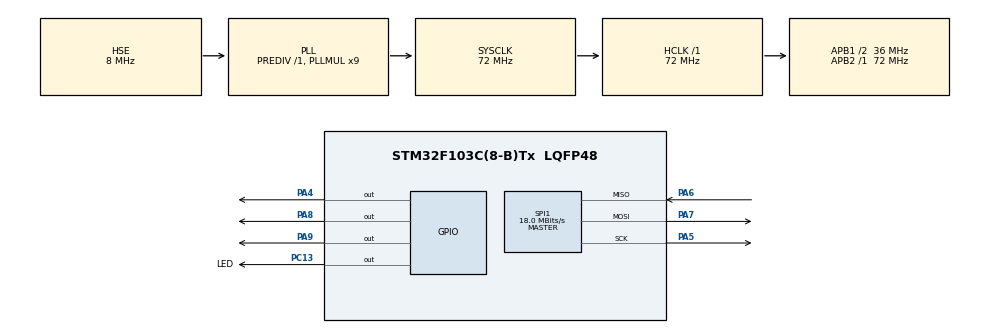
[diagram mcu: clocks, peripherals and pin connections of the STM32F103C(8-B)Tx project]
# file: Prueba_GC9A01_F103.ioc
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Mcu.Family=STM32F1
Mcu.Name=STM32F103C(8-B)Tx
Mcu.Package=LQFP48
NVIC.PriorityGroup=NVIC_PRIORITYGROUP_4
PA13.Mode=Serial_Wire
PA13.Signal=SYS_JTMS-SWDIO
PA14.Mode=Serial_Wire
PA14.Signal=SYS_JTCK-SWCLK
PA4.Signal=GPIO_Output
PA5.Mode=Full_Duplex_Master
PA5.Signal=SPI1_SCK
PA6.Mode=Full_Duplex_Master
PA6.Signal=SPI1_MISO
PA7.Mode=Full_Duplex_Master
PA7.Signal=SPI1_MOSI
PA8.Signal=GPIO_Output
PA9.Signal=GPIO_Output
PC13-TAMPER-RTC.GPIO_Label=LED
PC13-TAMPER-RTC.PinState=GPIO_PIN_SET
PC13-TAMPER-RTC.Signal=GPIO_Output
PD0-OSC_IN.Mode=HSE-External-Oscillator
PD0-OSC_IN.Signal=RCC_OSC_IN
PD1-OSC_OUT.Mode=HSE-External-Oscillator
PD1-OSC_OUT.Signal=RCC_OSC_OUT
ProjectManager.HeapSize=0x200
ProjectManager.StackSize=0x400
ProjectManager.TargetToolchain=STM32CubeIDE
RCC.AHBFreq_Value=72000000
RCC.APB1CLKDivider=RCC_HCLK_DIV2
RCC.APB1Freq_Value=36000000
RCC.APB1TimFreq_Value=72000000
RCC.APB2Freq_Value=72000000
RCC.APB2TimFreq_Value=72000000
RCC.HCLKFreq_Value=72000000
RCC.PLLMUL=RCC_PLL_MUL9
RCC.PLLSourceVirtual=RCC_PLLSOURCE_HSE
RCC.SYSCLKFreq_VALUE=72000000
RCC.SYSCLKSource=RCC_SYSCLKSOURCE_PLLCLK
RCC.USBFreq_Value=72000000
SPI1.BaudRatePrescaler=SPI_BAUDRATEPRESCALER_4
SPI1.CalculateBaudRate=18.0 MBits/s
SPI1.Direction=SPI_DIRECTION_2LINES
SPI1.Mode=SPI_MODE_MASTER
SPI1.VirtualType=VM_MASTER
board=custom

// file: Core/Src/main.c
/* USER CODE BEGIN Header */
/**
  ******************************************************************************
  * @file           : main.c
  * @brief          : Main program body
  ******************************************************************************
  * @attention
  *
  * Copyright (c) 2024 STMicroelectronics.
  * All rights reserved.
  *
  * This software is licensed under terms that can be found in the LICENSE file
  * in the root directory of this software component.
  * If no LICENSE file comes with this software, it is provided AS-IS.
  *
  ******************************************************************************
  */
/* USER CODE END Header */
#include "main.h"

/* USER CODE BEGIN Includes */
#include "GC9A01.h"
#include <math.h>
//#include <stdbool.h>
/* USER CODE END Includes */

SPI_HandleTypeDef hspi1;

void SystemClock_Config(void);
static void MX_GPIO_Init(void);
static void MX_SPI1_Init(void);

int main(void)
{
  /* USER CODE BEGIN 1 */
	//bool inverted = false;
  /* USER CODE END 1 */

  /* MCU Configuration--------------------------------------------------------*/

  /* Reset of all peripherals, Initializes the Flash interface and the Systick. */
  HAL_Init();

  /* Configure the system clock */
  SystemClock_Config();

  /* Initialize all configured peripherals */
  MX_GPIO_Init();
  MX_SPI1_Init();
  /* USER CODE BEGIN 2 */
  GC9A01_init();
  struct GC9A01_frame frame = {{0,0},{239,239}};
  GC9A01_set_frame(frame);
  /* USER CODE END 2 */

  /* Infinite loop */
  while (1)
  {

    /* USER CODE BEGIN 3 */
	  uint8_t color[3];
	  // Triangle
	  color[0] = 0xFF;
	  color[1] = 0xFF;
	  for (int x = 0; x < 240; x++) {
		  for (int y = 0; y < 240; y++) {
			  if (x < y) {
				  color[2] = 0xFF;
			  } else {
				  color[2] = 0x00;
			  }
			  if (x == 0 && y == 0) {
				  GC9A01_write(color, sizeof(color));
			  } else {
				  GC9A01_write_continue(color, sizeof(color));
			  }
		  }
	  }
	  //setPWM(1);
	  HAL_Delay(1000);
	  // setPWM(0);
	  // Rainbow
	  float frequency = 0.026;
	  for (int x = 0; x < 240; x++) {
		  color[0] = sin(frequency*x + 0) * 127 + 128;
		  color[1] = sin(frequency*x + 2) * 127 + 128;
		  color[2] = sin(frequency*x + 4) * 127 + 128;
		  for (int y = 0; y < 240; y++) {
			  if (x == 0 && y == 0) {
				  GC9A01_write(color, sizeof(color));
			  } else {
				  GC9A01_write_continue(color, sizeof(color));
			  }
		  }
	  }
	  // setPWM(1);
	  HAL_Delay(1000);
	  // setPWM(0);
	  // Checkerboard
	  for (int x = 0; x < 240; x++) {
		  for (int y = 0; y < 240; y++) {
			  if ((x / 10) % 2 ==  (y / 10) % 2) {
				  color[0] = 0xFF;
				  color[1] = 0xFF;
				  color[2] = 0xFF;
			  } else {
				  color[0] = 0x00;
				  color[1] = 0x00;
				  color[2] = 0x00;
			  }
			  if (x == 0 && y == 0) {
				  GC9A01_write(color, sizeof(color));
			  } else {
				  GC9A01_write_continue(color, sizeof(color));
			  }
		  }
	  }
	  // setPWM(1);
	  HAL_Delay(1000);
	  // setPWM(0);
	  // Swiss flag
	  color[0] = 0xFF;
	  for (int x = 0; x < 240; x++) {
		  for (int y = 0; y < 240; y++) {
			  if ((x >= 1*48 && x < 4*48 && y >= 2*48 && y < 3*48) ||
				  (x >= 2*48 && x < 3*48 && y >= 1*48 && y < 4*48)) {
				  color[1] = 0xFF;
				  color[2] = 0xFF;
			  } else {
				  color[1] = 0x00;
				  color[2] = 0x00;
			  }
			  if (x == 0 && y == 0) {
				  GC9A01_write(color, sizeof(color));
			  } else {
				  GC9A01_write_continue(color, sizeof(color));
			  }
		  }
	  }
	  // setPWM(1);
	 /*if(!inverted)
	  {
		  GC9A01_write_command(0x20);
		  inverted = true;
	  }
	  else
	  {
		  inverted = false;
	  }*/

	  HAL_Delay(1000);
	  // setPWM(0);
  }
  /* USER CODE END 3 */
}

void SystemClock_Config(void)
{
  RCC_OscInitTypeDef RCC_OscInitStruct = {0};
  RCC_ClkInitTypeDef RCC_ClkInitStruct = {0};

  /** Initializes the RCC Oscillators according to the specified parameters
  * in the RCC_OscInitTypeDef structure.
  */
  RCC_OscInitStruct.OscillatorType = RCC_OSCILLATORTYPE_HSE;
  RCC_OscInitStruct.HSEState = RCC_HSE_ON;
  RCC_OscInitStruct.HSEPredivValue = RCC_HSE_PREDIV_DIV1;
  RCC_OscInitStruct.HSIState = RCC_HSI_ON;
  RCC_OscInitStruct.PLL.PLLState = RCC_PLL_ON;
  RCC_OscInitStruct.PLL.PLLSource = RCC_PLLSOURCE_HSE;
  RCC_OscInitStruct.PLL.PLLMUL = RCC_PLL_MUL9;
  if (HAL_RCC_OscConfig(&RCC_OscInitStruct) != HAL_OK)
  {
    Error_Handler();
  }

  /** Initializes the CPU, AHB and APB buses clocks
  */
  RCC_ClkInitStruct.ClockType = RCC_CLOCKTYPE_HCLK|RCC_CLOCKTYPE_SYSCLK
                              |RCC_CLOCKTYPE_PCLK1|RCC_CLOCKTYPE_PCLK2;
  RCC_ClkInitStruct.SYSCLKSource = RCC_SYSCLKSOURCE_PLLCLK;
  RCC_ClkInitStruct.AHBCLKDivider = RCC_SYSCLK_DIV1;
  RCC_ClkInitStruct.APB1CLKDivider = RCC_HCLK_DIV2;
  RCC_ClkInitStruct.APB2CLKDivider = RCC_HCLK_DIV1;

  if (HAL_RCC_ClockConfig(&RCC_ClkInitStruct, FLASH_LATENCY_2) != HAL_OK)
  {
    Error_Handler();
  }
}

static void MX_SPI1_Init(void)
{

  /* SPI1 parameter configuration*/
  hspi1.Instance = SPI1;
  hspi1.Init.Mode = SPI_MODE_MASTER;
  hspi1.Init.Direction = SPI_DIRECTION_2LINES;
  hspi1.Init.DataSize = SPI_DATASIZE_8BIT;
  hspi1.Init.CLKPolarity = SPI_POLARITY_LOW;
  hspi1.Init.CLKPhase = SPI_PHASE_1EDGE;
  hspi1.Init.NSS = SPI_NSS_SOFT;
  hspi1.Init.BaudRatePrescaler = SPI_BAUDRATEPRESCALER_4;
  hspi1.Init.FirstBit = SPI_FIRSTBIT_MSB;
  hspi1.Init.TIMode = SPI_TIMODE_DISABLE;
  hspi1.Init.CRCCalculation = SPI_CRCCALCULATION_DISABLE;
  hspi1.Init.CRCPolynomial = 10;
  if (HAL_SPI_Init(&hspi1) != HAL_OK)
  {
    Error_Handler();
  }

}

static void MX_GPIO_Init(void)
{
  GPIO_InitTypeDef GPIO_InitStruct = {0};

  /* GPIO Ports Clock Enable */
  __HAL_RCC_GPIOC_CLK_ENABLE();
  __HAL_RCC_GPIOD_CLK_ENABLE();
  __HAL_RCC_GPIOA_CLK_ENABLE();

  /*Configure GPIO pin Output Level */
  HAL_GPIO_WritePin(LED_GPIO_Port, LED_Pin, GPIO_PIN_SET);

  /*Configure GPIO pin Output Level */
  HAL_GPIO_WritePin(GPIOA, GPIO_PIN_4|GPIO_PIN_8|GPIO_PIN_9, GPIO_PIN_RESET);

  /*Configure GPIO pin : LED_Pin */
  GPIO_InitStruct.Pin = LED_Pin;
  GPIO_InitStruct.Mode = GPIO_MODE_OUTPUT_PP;
  GPIO_InitStruct.Pull = GPIO_NOPULL;
  GPIO_InitStruct.Speed = GPIO_SPEED_FREQ_LOW;
  HAL_GPIO_Init(LED_GPIO_Port, &GPIO_InitStruct);

  /*Configure GPIO pins : PA4 PA8 PA9 */
  GPIO_InitStruct.Pin = GPIO_PIN_4|GPIO_PIN_8|GPIO_PIN_9;
  GPIO_InitStruct.Mode = GPIO_MODE_OUTPUT_PP;
  GPIO_InitStruct.Pull = GPIO_NOPULL;
  GPIO_InitStruct.Speed = GPIO_SPEED_FREQ_LOW;
  HAL_GPIO_Init(GPIOA, &GPIO_InitStruct);

}

void Error_Handler(void)
{
  __disable_irq();
  while (1)
  {
  }
}
